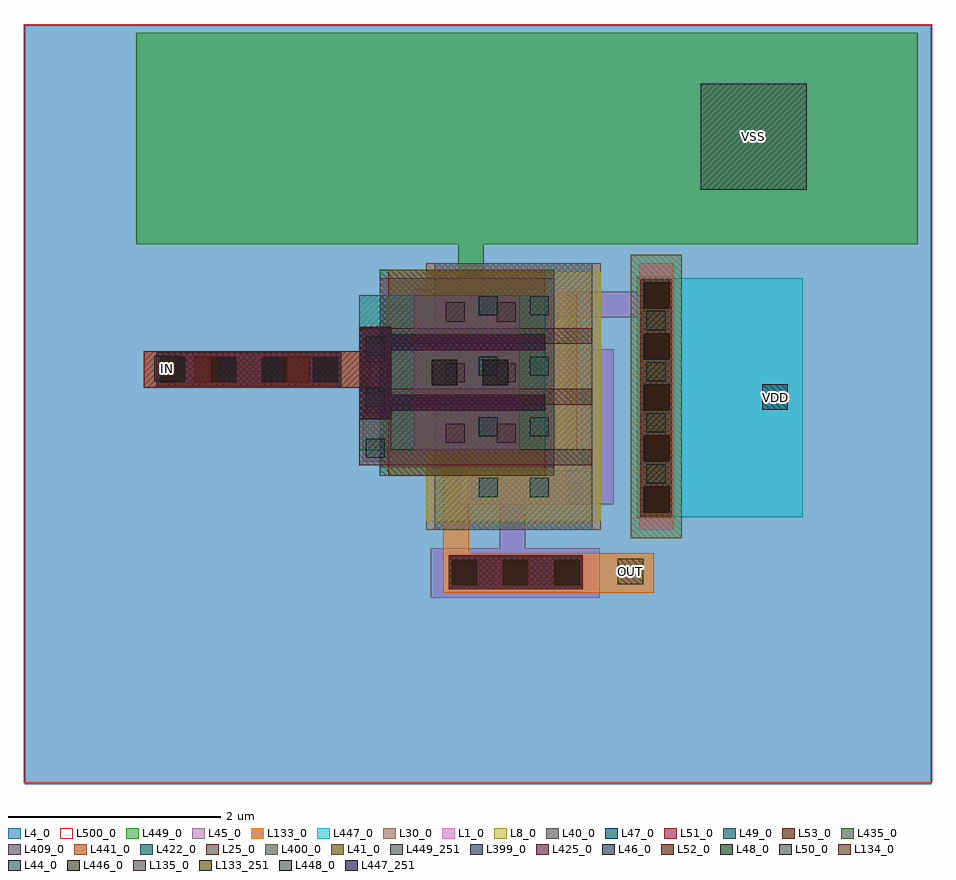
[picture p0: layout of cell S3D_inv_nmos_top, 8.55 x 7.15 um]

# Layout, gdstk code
from math import pi, radians
import gdstk
lib = gdstk.Library(unit=1e-6, precision=1e-09)
def R(c, l, rs):  # rectangles x0, y0, x1, y1
    for r in rs: c.add(gdstk.rectangle(r[:2], r[2:], *l))
def A(c, l, x, y, w, h, nx, ny, dx, dy):  # array of equal rectangles
    R(c, l, [(x+i*dx, y+j*dy, x+i*dx+w, y+j*dy+h) for i in range(nx) for j in range(ny)])
L1_0 = (1, 0)
L4_0 = (4, 0)
L8_0 = (8, 0)
L25_0 = (25, 0)
L30_0 = (30, 0)
L40_0 = (40, 0)
L41_0 = (41, 0)
L44_0 = (44, 0)
L45_0 = (45, 0)
L46_0 = (46, 0)
L47_0 = (47, 0)
L48_0 = (48, 0)
L49_0 = (49, 0)
L50_0 = (50, 0)
L51_0 = (51, 0)
L52_0 = (52, 0)
L53_0 = (53, 0)
L133_0 = (133, 0)
L133_251 = (133, 251)
L134_0 = (134, 0)
L135_0 = (135, 0)
L399_0 = (399, 0)
L400_0 = (400, 0)
L409_0 = (409, 0)
L422_0 = (422, 0)
L425_0 = (425, 0)
L435_0 = (435, 0)
L441_0 = (441, 0)
L446_0 = (446, 0)
L447_0 = (447, 0)
L447_251 = (447, 251)
L448_0 = (448, 0)
L449_0 = (449, 0)
L449_251 = (449, 251)
L500_0 = (500, 0)

abutcontact_cdns_4466576 = lib.new_cell('AbutContact_CDNS_446657675102')
R(abutcontact_cdns_4466576, L1_0, [(-0.14,-0.03,2.37,0.29)])
A(abutcontact_cdns_4466576, L44_0, 0.3, 0.04, 0.18, 0.18, 4, 1, 0.48, 0)
R(abutcontact_cdns_4466576, L45_0, [(-0.14,-0.03,2.37,0.29)])

pmos_hs_4_cdns_446657675 = lib.new_cell('pmos_hs_4_CDNS_446657675100')
A(pmos_hs_4_cdns_446657675, L1_0, 0, 0, 0.15, 1, 3, 1, 0.57, 0)
A(pmos_hs_4_cdns_446657675, L1_0, -0.37, 0.1, 0.32, 0.8, 4, 1, 0.57, 0)
R(pmos_hs_4_cdns_446657675, L1_0, [(-0.37,0,0,1), (0.15,0,0.57,1), (0.72,0,1.14,1), (1.29,0,1.66,1)])
R(pmos_hs_4_cdns_446657675, L4_0, [(-1.02,-1.41,2.31,2.2), (-1.02,-1.41,2.31,2.2), (-0.77,-1.16,2.06,1.32)])
R(pmos_hs_4_cdns_446657675, L8_0, [(-0.53,-0.32,1.82,1.32)])
A(pmos_hs_4_cdns_446657675, L25_0, 0, -0.24, 0.15, 0.24, 3, 2, 0.57, 1.24)
A(pmos_hs_4_cdns_446657675, L25_0, 0, -0.24, 0.15, 1.48, 3, 1, 0.57, 0)
A(pmos_hs_4_cdns_446657675, L25_0, 0, 1.24, 0.15, 0.41, 3, 1, 0.57, 0)
R(pmos_hs_4_cdns_446657675, L25_0, [(0,1.65,1.29,1.95), (0.01,1.65,1.27,1.95)])
R(pmos_hs_4_cdns_446657675, L30_0, [(-0.61,-0.32,1.9,1.32)])
R(pmos_hs_4_cdns_446657675, L40_0, [(-0.61,-0.24,1.9,1.24)])
R(pmos_hs_4_cdns_446657675, L41_0, [(-0.69,-1.08,1.98,-0.6)])
A(pmos_hs_4_cdns_446657675, L44_0, -0.3, 0.17, 0.18, 0.18, 4, 2, 0.57, 0.48)
A(pmos_hs_4_cdns_446657675, L44_0, 0.07, 1.71, 0.18, 0.18, 3, 1, 0.48, 0)
A(pmos_hs_4_cdns_446657675, L45_0, -0.37, 0.1, 0.32, 0.8, 4, 1, 0.57, 0)
R(pmos_hs_4_cdns_446657675, L45_0, [(-0.61,-1,1.9,-0.68), (-0.37,-0.44,1.09,-0.14), (-0.37,-0.14,-0.05,0.1), (0.77,-0.14,1.09,0.1), (0.2,0.9,0.52,1.14), (1.34,0.9,1.66,1.14), (0.2,1.14,1.66,1.44), (0.03,1.68,1.25,1.92)])
pmos_hs_4_cdns_446657675.add(gdstk.Reference(abutcontact_cdns_4466576, (-0.47,-0.97)))

nmos_hs_4_top_cdns_44665 = lib.new_cell('nmos_hs_4_top_CDNS_446657675101')
A(nmos_hs_4_top_cdns_44665, L133_0, -0.37, 0, 0.32, 1, 3, 1, 0.57, 0)
R(nmos_hs_4_top_cdns_44665, L133_0, [(-0.37,-0.54,1.09,-0.24), (-0.37,-0.3,-0.05,0.04), (0.77,-0.3,1.09,0.04), (-0.28,0.06,-0.14,0.2), (0.29,0.06,0.43,0.2), (-0.06,1.24,0.2,1.48), (0.2,1.24,0.51,1.48), (0.51,1.24,0.77,1.48), (0,1.29,0.14,1.43)])
A(nmos_hs_4_top_cdns_44665, L135_0, -0.3, 0.04, 0.18, 0.18, 3, 2, 0.57, 0.48)
R(nmos_hs_4_top_cdns_44665, L135_0, [(-0.02,1.27,0.16,1.45), (0.46,1.27,0.64,1.45)])
R(nmos_hs_4_top_cdns_44665, L399_0, [(0,-0.24,0.15,1.21), (0.57,-0.24,0.72,1.21), (0.04,0.1,0.1,0.18), (-0.08,1.21,0.22,1.51), (0.22,1.21,0.49,1.51), (0.49,1.21,0.79,1.51)])
A(nmos_hs_4_top_cdns_44665, L400_0, -0.37, 0, 0.32, 1, 3, 1, 0.57, 0)
R(nmos_hs_4_top_cdns_44665, L400_0, [(-0.05,0,0,1), (0,0,0.15,1), (0.15,0,0.2,1), (0.52,0,0.57,1), (0.57,0,0.72,1), (0.72,0,0.77,1)])
R(nmos_hs_4_top_cdns_44665, L409_0, [(-0.53,-0.32,1.25,1.32)])
R(nmos_hs_4_top_cdns_44665, L422_0, [(-0.37,-0.24,1.09,1.51)])
R(nmos_hs_4_top_cdns_44665, L425_0, [(0,-0.24,0.15,1.21), (0.57,-0.24,0.72,1.21), (-0.08,1.21,0.22,1.51), (0.22,1.21,0.49,1.51), (0.49,1.21,0.79,1.51)])
R(nmos_hs_4_top_cdns_44665, L435_0, [(-0.61,-0.32,1.33,1.32)])
R(nmos_hs_4_top_cdns_44665, L441_0, [(-0.61,-0.24,1.33,1.24)])

m1_m2_cdns_446657675100 = lib.new_cell('M1_M2_CDNS_446657675100')
R(m1_m2_cdns_446657675100, L45_0, [(-0.87,-0.16,0.87,0.16)])
A(m1_m2_cdns_446657675100, L46_0, -0.84, -0.12, 0.24, 0.24, 4, 1, 0.48, 0)
R(m1_m2_cdns_446657675100, L47_0, [(-0.87,-0.16,0.87,0.16)])

m4_m5_cdns_446657675101 = lib.new_cell('M4_M5_CDNS_446657675101')
R(m4_m5_cdns_446657675101, L51_0, [(-0.87,-0.16,0.87,0.16)])
A(m4_m5_cdns_446657675101, L52_0, -0.84, -0.12, 0.24, 0.24, 4, 1, 0.48, 0)
R(m4_m5_cdns_446657675101, L53_0, [(-0.87,-0.16,0.87,0.16)])

m2_m3_cdns_446657675102 = lib.new_cell('M2_M3_CDNS_446657675102')
R(m2_m3_cdns_446657675102, L47_0, [(-0.87,-0.16,0.87,0.16)])
A(m2_m3_cdns_446657675102, L48_0, -0.84, -0.12, 0.24, 0.24, 4, 1, 0.48, 0)
R(m2_m3_cdns_446657675102, L49_0, [(-0.87,-0.16,0.87,0.16)])

m3_m4_cdns_446657675103 = lib.new_cell('M3_M4_CDNS_446657675103')
R(m3_m4_cdns_446657675103, L49_0, [(-0.87,-0.16,0.87,0.16)])
A(m3_m4_cdns_446657675103, L50_0, -0.84, -0.12, 0.24, 0.24, 4, 1, 0.48, 0)
R(m3_m4_cdns_446657675103, L51_0, [(-0.87,-0.16,0.87,0.16)])

m4_m5_cdns_446657675104 = lib.new_cell('M4_M5_CDNS_446657675104')
R(m4_m5_cdns_446657675104, L51_0, [(-0.63,-0.16,0.63,0.16)])
A(m4_m5_cdns_446657675104, L52_0, -0.6, -0.12, 0.24, 0.24, 3, 1, 0.48, 0)
R(m4_m5_cdns_446657675104, L53_0, [(-0.63,-0.16,0.63,0.16)])

m3_m4_cdns_446657675105 = lib.new_cell('M3_M4_CDNS_446657675105')
R(m3_m4_cdns_446657675105, L49_0, [(-0.63,-0.16,0.63,0.16)])
A(m3_m4_cdns_446657675105, L50_0, -0.6, -0.12, 0.24, 0.24, 3, 1, 0.48, 0)
R(m3_m4_cdns_446657675105, L51_0, [(-0.63,-0.16,0.63,0.16)])

m2_m3_cdns_446657675106 = lib.new_cell('M2_M3_CDNS_446657675106')
R(m2_m3_cdns_446657675106, L47_0, [(-0.63,-0.16,0.63,0.16)])
A(m2_m3_cdns_446657675106, L48_0, -0.6, -0.12, 0.24, 0.24, 3, 1, 0.48, 0)
R(m2_m3_cdns_446657675106, L49_0, [(-0.63,-0.16,0.63,0.16)])

m1_m2_cdns_446657675107 = lib.new_cell('M1_M2_CDNS_446657675107')
R(m1_m2_cdns_446657675107, L45_0, [(-0.63,-0.16,0.63,0.16)])
A(m1_m2_cdns_446657675107, L46_0, -0.6, -0.12, 0.24, 0.24, 3, 1, 0.48, 0)
R(m1_m2_cdns_446657675107, L47_0, [(-0.63,-0.16,0.63,0.16)])

m1_top_m2_top_cdns_44665 = lib.new_cell('M1_top_M2_top_CDNS_446657675108')
R(m1_top_m2_top_cdns_44665, L133_0, [(-0.15,-1.12,0.15,1.12)])
A(m1_top_m2_top_cdns_44665, L446_0, -0.12, -1.08, 0.24, 0.24, 1, 5, 0, 0.48)
R(m1_top_m2_top_cdns_44665, L447_0, [(-0.15,-1.12,0.15,1.12)])

m2_top_m3_top_cdns_44665 = lib.new_cell('M2_top_M3_top_CDNS_446657675109')
R(m2_top_m3_top_cdns_44665, L447_0, [(-0.39,-0.16,0.39,0.16)])
R(m2_top_m3_top_cdns_44665, L448_0, [(-0.36,-0.12,-0.12,0.12), (0.12,-0.12,0.36,0.12)])
R(m2_top_m3_top_cdns_44665, L449_0, [(-0.39,-0.16,0.39,0.16)])

c_m1_top_m2_top_cdns_44665 = lib.new_cell('M1_top_M2_top_CDNS_4466576751010')
R(c_m1_top_m2_top_cdns_44665, L133_0, [(-0.39,-0.16,0.39,0.16)])
R(c_m1_top_m2_top_cdns_44665, L446_0, [(-0.36,-0.12,-0.12,0.12), (0.12,-0.12,0.36,0.12)])
R(c_m1_top_m2_top_cdns_44665, L447_0, [(-0.39,-0.16,0.39,0.16)])

m4_m5_cdns_4466576751011 = lib.new_cell('M4_M5_CDNS_4466576751011')
R(m4_m5_cdns_4466576751011, L51_0, [(-0.15,-1.12,0.15,1.12)])
A(m4_m5_cdns_4466576751011, L52_0, -0.12, -1.08, 0.24, 0.24, 1, 5, 0, 0.48)
R(m4_m5_cdns_4466576751011, L53_0, [(-0.15,-1.12,0.15,1.12)])

m3_m4_cdns_4466576751012 = lib.new_cell('M3_M4_CDNS_4466576751012')
R(m3_m4_cdns_4466576751012, L49_0, [(-0.15,-1.12,0.15,1.12)])
A(m3_m4_cdns_4466576751012, L50_0, -0.12, -1.08, 0.24, 0.24, 1, 5, 0, 0.48)
R(m3_m4_cdns_4466576751012, L51_0, [(-0.15,-1.12,0.15,1.12)])

m2_m3_cdns_4466576751013 = lib.new_cell('M2_M3_CDNS_4466576751013')
R(m2_m3_cdns_4466576751013, L47_0, [(-0.15,-1.12,0.15,1.12)])
A(m2_m3_cdns_4466576751013, L48_0, -0.12, -1.08, 0.24, 0.24, 1, 5, 0, 0.48)
R(m2_m3_cdns_4466576751013, L49_0, [(-0.15,-1.12,0.15,1.12)])

m1_m2_cdns_4466576751014 = lib.new_cell('M1_M2_CDNS_4466576751014')
R(m1_m2_cdns_4466576751014, L45_0, [(-0.15,-1.12,0.15,1.12)])
A(m1_m2_cdns_4466576751014, L46_0, -0.12, -1.08, 0.24, 0.24, 1, 5, 0, 0.48)
R(m1_m2_cdns_4466576751014, L47_0, [(-0.15,-1.12,0.15,1.12)])

s3d_inv_nmos_top = lib.new_cell('S3D_inv_nmos_top')
R(s3d_inv_nmos_top, L4_0, [(-0.95,1.52,7.58,8.66)])
R(s3d_inv_nmos_top, L45_0, [(2.87,3.27,4.46,3.74), (0.17,5.25,2.29,5.59)])
A(s3d_inv_nmos_top, L53_0, 3.04, 3.36, 0.3, 0.3, 3, 1, 0.48, 0)
A(s3d_inv_nmos_top, L53_0, 4.84, 4.04, 0.3, 0.3, 1, 5, 0, 0.48)
R(s3d_inv_nmos_top, L53_0, [(0.17,5.25,2.3,5.59), (0.62,5.27,0.92,5.57), (1.46,5.27,1.76,5.57)])
R(s3d_inv_nmos_top, L133_0, [(2.99,3.32,4.97,3.69), (4.81,4.02,5.15,6.29), (0.17,5.25,2.42,5.59)])
R(s3d_inv_nmos_top, L133_251, [(4.63,3.4,4.87,3.64), (0.27,5.31,0.51,5.55)])
A(s3d_inv_nmos_top, L134_0, 3.07, 3.39, 0.24, 0.24, 3, 1, 0.48, 0)
A(s3d_inv_nmos_top, L134_0, 4.87, 4.07, 0.24, 0.24, 1, 5, 0, 0.48)
R(s3d_inv_nmos_top, L134_0, [(0.65,5.3,0.89,5.54), (1.49,5.3,1.73,5.54)])
R(s3d_inv_nmos_top, L447_0, [(4.81,4.03,6.37,6.28)])
R(s3d_inv_nmos_top, L447_251, [(5.99,5.04,6.23,5.28)])
R(s3d_inv_nmos_top, L449_0, [(0.1,6.6,7.45,8.59)])
R(s3d_inv_nmos_top, L449_251, [(5.41,7.11,6.41,8.11)])
R(s3d_inv_nmos_top, L500_0, [(-0.96,1.53,7.59,8.67)])
s3d_inv_nmos_top.add(gdstk.FlexPath([(3.61,6.03),(5.13,6.03)], 0.24, ends="flush", simple_path=True, layer=45, datatype=0))  # L45_0
s3d_inv_nmos_top.add(gdstk.FlexPath([(3.64,4.45),(3.64,3.74)], 0.24, ends="flush", simple_path=True, layer=45, datatype=0))  # L45_0
s3d_inv_nmos_top.add(gdstk.FlexPath([(2.47,5.43),(0.24,5.43)], 0.24, ends="flush", simple_path=True, layer=133, datatype=0))  # L133_0
s3d_inv_nmos_top.add(gdstk.FlexPath([(3.11,4.93),(3.11,3.32)], 0.24, ends="flush", simple_path=True, layer=133, datatype=0))  # L133_0
s3d_inv_nmos_top.add(gdstk.FlexPath([(3.25,5.26),(3.25,7.13)], 0.24, ends="flush", simple_path=True, layer=449, datatype=0))  # L449_0
s3d_inv_nmos_top.add(gdstk.Reference(pmos_hs_4_cdns_446657675, (4.15,4.52), rotation=pi/2))
s3d_inv_nmos_top.add(gdstk.Reference(nmos_hs_4_top_cdns_44665, (3.71,5.03), rotation=pi/2))
s3d_inv_nmos_top.add(gdstk.Reference(m1_m2_cdns_446657675100, (1.16,5.42)))
s3d_inv_nmos_top.add(gdstk.Reference(m4_m5_cdns_446657675101, (1.16,5.42)))
s3d_inv_nmos_top.add(gdstk.Reference(m2_m3_cdns_446657675102, (1.16,5.42)))
s3d_inv_nmos_top.add(gdstk.Reference(m3_m4_cdns_446657675103, (1.16,5.42)))
s3d_inv_nmos_top.add(gdstk.Reference(m4_m5_cdns_446657675104, (3.67,3.51)))
s3d_inv_nmos_top.add(gdstk.Reference(m3_m4_cdns_446657675105, (3.67,3.51)))
s3d_inv_nmos_top.add(gdstk.Reference(m2_m3_cdns_446657675106, (3.67,3.51)))
s3d_inv_nmos_top.add(gdstk.Reference(m1_m2_cdns_446657675107, (3.67,3.51)))
s3d_inv_nmos_top.add(gdstk.Reference(m1_top_m2_top_cdns_44665, (5,5.16)))
s3d_inv_nmos_top.add(gdstk.Reference(m2_top_m3_top_cdns_44665, (3.24,5.39)))
s3d_inv_nmos_top.add(gdstk.Reference(c_m1_top_m2_top_cdns_44665, (3.24,5.39)))
s3d_inv_nmos_top.add(gdstk.Reference(m4_m5_cdns_4466576751011, (4.99,5.15)))
s3d_inv_nmos_top.add(gdstk.Reference(m3_m4_cdns_4466576751012, (4.99,5.15)))
s3d_inv_nmos_top.add(gdstk.Reference(m2_m3_cdns_4466576751013, (4.99,5.15)))
s3d_inv_nmos_top.add(gdstk.Reference(m1_m2_cdns_4466576751014, (4.99,5.15)))
s3d_inv_nmos_top.add(gdstk.Label('VDD', (6.11,5.16), layer=447, texttype=251))
s3d_inv_nmos_top.add(gdstk.Label('VSS', (5.91,7.61), layer=449, texttype=251))
s3d_inv_nmos_top.add(gdstk.Label('OUT', (4.75,3.52), layer=133, texttype=251))
s3d_inv_nmos_top.add(gdstk.Label('IN', (0.39,5.43), layer=133, texttype=251))

lib.write_gds('S3D_inv_nmos_top.gds')
